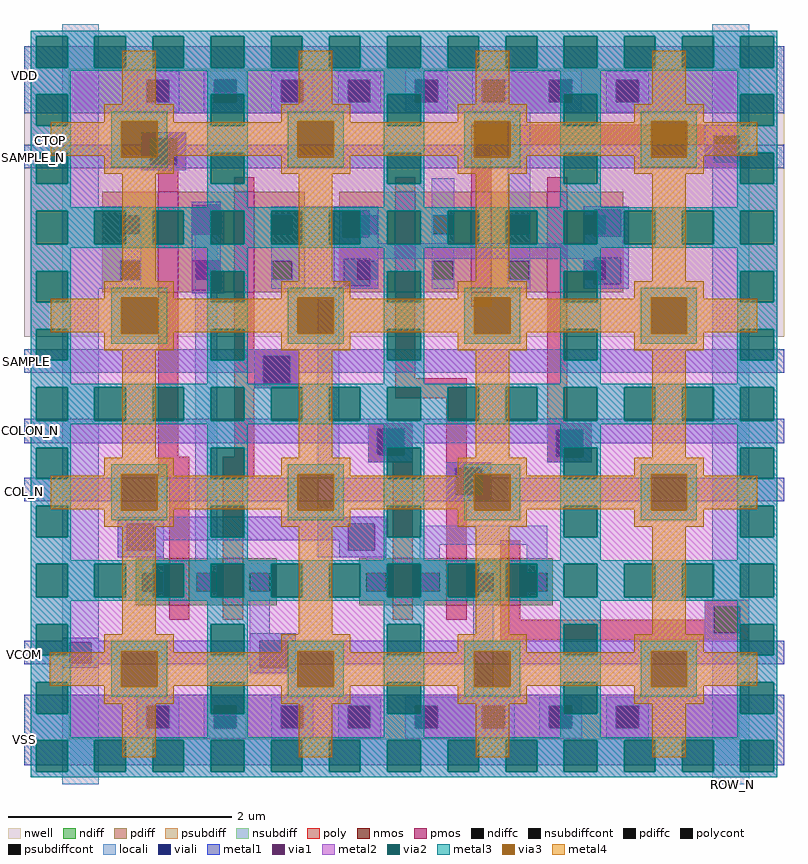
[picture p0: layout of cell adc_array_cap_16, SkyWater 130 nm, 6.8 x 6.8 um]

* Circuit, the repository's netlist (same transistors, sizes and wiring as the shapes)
* NGSPICE file created from adc_array_cap_16.ext - technology: sky130A

.subckt adc_array_circuit ROW_N COL_N COLON_N SAMPLE SAMPLE_N CBOT VCOM VDD VSS
X0 VINT2 COLON_N VDRV VSS sky130_fd_pr__nfet_01v8 ad=2.478e+11p pd=2.86e+06u as=2.52e+11p ps=2.88e+06u w=420000u l=180000u
X1 VINT2 ROW_N VSS VSS sky130_fd_pr__nfet_01v8 ad=0p pd=0u as=1.26e+11p ps=1.44e+06u w=420000u l=180000u
X2 VSS COL_N VINT2 VSS sky130_fd_pr__nfet_01v8 ad=0p pd=0u as=0p ps=0u w=420000u l=180000u
X3 CBOT SAMPLE_N VCOM VDD sky130_fd_pr__pfet_01v8 ad=4.5e+11p pd=2.8e+06u as=4.5e+11p ps=2.8e+06u w=900000u l=180000u
X4 VDRV SAMPLE CBOT VDD sky130_fd_pr__pfet_01v8 ad=1.305e+12p pd=8.3e+06u as=0p ps=0u w=900000u l=180000u
X5 VINT COL_N VDRV VDD sky130_fd_pr__pfet_01v8 ad=4.5e+11p pd=2.8e+06u as=0p ps=0u w=900000u l=180000u
X6 CBOT SAMPLE_N VDRV VSS sky130_fd_pr__nfet_01v8 ad=1.26e+11p pd=1.44e+06u as=0p ps=0u w=420000u l=180000u
X7 VCOM SAMPLE CBOT VSS sky130_fd_pr__nfet_01v8 ad=1.26e+11p pd=1.44e+06u as=0p ps=0u w=420000u l=180000u
X8 VDD ROW_N VINT VDD sky130_fd_pr__pfet_01v8 ad=4.5e+11p pd=2.8e+06u as=0p ps=0u w=900000u l=180000u
X9 VDRV COLON_N VDD VDD sky130_fd_pr__pfet_01v8 ad=0p pd=0u as=0p ps=0u w=900000u l=180000u
.ends

.subckt adc_array_cap_16 COL_N COLON_N CTOP ROW_N SAMPLE SAMPLE_N VCOM VDD CBOT VSS
Xadc_array_circuit_0 ROW_N COL_N COLON_N SAMPLE SAMPLE_N CBOT VCOM VDD VSS adc_array_circuit
.ends

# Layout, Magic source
magic
tech sky130A
<< locali >>
rect 617 0 650 4
<< metal1 >>
rect 1 600 5 660
rect 1 551 6 572
rect 1 368 6 389
rect 1 305 6 327
rect 1 253 6 274
rect 1 107 6 128
rect 1 17 6 80
<< metal2 >>
rect 7 669 675 674
rect 7 641 12 669
rect 40 641 64 669
rect 92 641 116 669
rect 144 641 168 669
rect 198 641 222 669
rect 250 641 274 669
rect 302 641 326 669
rect 356 641 380 669
rect 408 641 432 669
rect 460 641 484 669
rect 514 641 538 669
rect 566 641 590 669
rect 618 641 642 669
rect 672 641 675 669
rect 7 617 675 641
rect 7 589 12 617
rect 40 589 168 617
rect 198 589 326 617
rect 356 589 484 617
rect 514 589 642 617
rect 672 589 675 617
rect 7 565 675 589
rect 7 537 12 565
rect 40 537 168 565
rect 198 537 326 565
rect 356 537 484 565
rect 514 537 642 565
rect 672 537 675 565
rect 7 513 675 537
rect 7 483 12 513
rect 40 483 64 513
rect 92 483 116 513
rect 144 483 168 513
rect 198 483 222 513
rect 250 483 274 513
rect 302 483 326 513
rect 356 483 380 513
rect 408 483 432 513
rect 460 483 484 513
rect 514 483 538 513
rect 566 483 590 513
rect 618 483 642 513
rect 672 483 675 513
rect 7 459 675 483
rect 7 431 12 459
rect 40 431 168 459
rect 198 431 326 459
rect 356 431 484 459
rect 514 431 642 459
rect 672 431 675 459
rect 7 407 675 431
rect 7 379 12 407
rect 40 379 168 407
rect 198 379 326 407
rect 356 379 484 407
rect 514 379 642 407
rect 672 379 675 407
rect 7 355 675 379
rect 7 325 12 355
rect 40 325 64 355
rect 92 325 116 355
rect 144 325 168 355
rect 198 325 222 355
rect 250 325 274 355
rect 302 325 326 355
rect 356 325 380 355
rect 408 325 432 355
rect 460 325 484 355
rect 514 325 538 355
rect 566 325 590 355
rect 618 325 642 355
rect 672 325 675 355
rect 7 301 675 325
rect 7 273 12 301
rect 40 273 168 301
rect 198 273 326 301
rect 356 273 484 301
rect 514 273 642 301
rect 672 273 675 301
rect 7 249 675 273
rect 7 221 12 249
rect 40 221 168 249
rect 198 221 326 249
rect 356 221 484 249
rect 514 221 642 249
rect 672 221 675 249
rect 7 197 675 221
rect 7 167 12 197
rect 40 167 64 197
rect 92 167 116 197
rect 144 167 168 197
rect 198 167 222 197
rect 250 167 274 197
rect 302 167 326 197
rect 356 167 380 197
rect 408 167 432 197
rect 460 167 484 197
rect 514 167 538 197
rect 566 167 590 197
rect 618 167 642 197
rect 672 167 675 197
rect 7 143 675 167
rect 7 115 12 143
rect 40 115 168 143
rect 198 115 326 143
rect 356 115 484 143
rect 514 115 642 143
rect 672 115 675 143
rect 7 91 675 115
rect 7 63 12 91
rect 40 63 168 91
rect 198 63 326 91
rect 356 63 484 91
rect 514 63 642 91
rect 672 63 675 91
rect 7 39 675 63
rect 7 11 12 39
rect 40 11 64 39
rect 92 11 116 39
rect 144 11 168 39
rect 198 11 222 39
rect 250 11 274 39
rect 302 11 326 39
rect 356 11 380 39
rect 408 11 432 39
rect 460 11 484 39
rect 514 11 538 39
rect 566 11 590 39
rect 618 11 642 39
rect 672 11 675 39
rect 7 6 675 11
<< via2 >>
rect 12 641 40 669
rect 64 641 92 669
rect 116 641 144 669
rect 168 641 198 669
rect 222 641 250 669
rect 274 641 302 669
rect 326 641 356 669
rect 380 641 408 669
rect 432 641 460 669
rect 484 641 514 669
rect 538 641 566 669
rect 590 641 618 669
rect 642 641 672 669
rect 12 589 40 617
rect 168 589 198 617
rect 326 589 356 617
rect 484 589 514 617
rect 642 589 672 617
rect 12 537 40 565
rect 168 537 198 565
rect 326 537 356 565
rect 484 537 514 565
rect 642 537 672 565
rect 12 483 40 513
rect 64 483 92 513
rect 116 483 144 513
rect 168 483 198 513
rect 222 483 250 513
rect 274 483 302 513
rect 326 483 356 513
rect 380 483 408 513
rect 432 483 460 513
rect 484 483 514 513
rect 538 483 566 513
rect 590 483 618 513
rect 642 483 672 513
rect 12 431 40 459
rect 168 431 198 459
rect 326 431 356 459
rect 484 431 514 459
rect 642 431 672 459
rect 12 379 40 407
rect 168 379 198 407
rect 326 379 356 407
rect 484 379 514 407
rect 642 379 672 407
rect 12 325 40 355
rect 64 325 92 355
rect 116 325 144 355
rect 168 325 198 355
rect 222 325 250 355
rect 274 325 302 355
rect 326 325 356 355
rect 380 325 408 355
rect 432 325 460 355
rect 484 325 514 355
rect 538 325 566 355
rect 590 325 618 355
rect 642 325 672 355
rect 12 273 40 301
rect 168 273 198 301
rect 326 273 356 301
rect 484 273 514 301
rect 642 273 672 301
rect 12 221 40 249
rect 168 221 198 249
rect 326 221 356 249
rect 484 221 514 249
rect 642 221 672 249
rect 12 167 40 197
rect 64 167 92 197
rect 116 167 144 197
rect 168 167 198 197
rect 222 167 250 197
rect 274 167 302 197
rect 326 167 356 197
rect 380 167 408 197
rect 432 167 460 197
rect 484 167 514 197
rect 538 167 566 197
rect 590 167 618 197
rect 642 167 672 197
rect 12 115 40 143
rect 168 115 198 143
rect 326 115 356 143
rect 484 115 514 143
rect 642 115 672 143
rect 12 63 40 91
rect 168 63 198 91
rect 326 63 356 91
rect 484 63 514 91
rect 642 63 672 91
rect 12 11 40 39
rect 64 11 92 39
rect 116 11 144 39
rect 168 11 198 39
rect 222 11 250 39
rect 274 11 302 39
rect 326 11 356 39
rect 380 11 408 39
rect 432 11 460 39
rect 484 11 514 39
rect 538 11 566 39
rect 590 11 618 39
rect 642 11 672 39
<< metal3 >>
rect 7 669 675 674
rect 7 641 12 669
rect 40 641 64 669
rect 92 641 116 669
rect 144 641 168 669
rect 198 641 222 669
rect 250 641 274 669
rect 302 641 326 669
rect 356 641 380 669
rect 408 641 432 669
rect 460 641 484 669
rect 514 641 538 669
rect 566 641 590 669
rect 618 641 642 669
rect 672 641 675 669
rect 7 638 675 641
rect 7 617 43 638
rect 7 589 12 617
rect 40 589 43 617
rect 165 617 201 638
rect 7 565 43 589
rect 7 537 12 565
rect 40 537 43 565
rect 79 593 129 602
rect 79 561 88 593
rect 120 561 129 593
rect 79 552 129 561
rect 165 589 168 617
rect 198 589 201 617
rect 323 617 359 638
rect 165 565 201 589
rect 7 516 43 537
rect 165 537 168 565
rect 198 537 201 565
rect 237 593 287 602
rect 237 561 246 593
rect 278 561 287 593
rect 237 552 287 561
rect 323 589 326 617
rect 356 589 359 617
rect 481 617 517 638
rect 323 565 359 589
rect 165 516 201 537
rect 323 537 326 565
rect 356 537 359 565
rect 395 593 445 602
rect 395 561 404 593
rect 436 561 445 593
rect 395 552 445 561
rect 481 589 484 617
rect 514 589 517 617
rect 639 617 675 638
rect 481 565 517 589
rect 323 516 359 537
rect 481 537 484 565
rect 514 537 517 565
rect 553 593 603 602
rect 553 561 562 593
rect 594 561 603 593
rect 553 552 603 561
rect 639 589 642 617
rect 672 589 675 617
rect 639 565 675 589
rect 481 516 517 537
rect 639 537 642 565
rect 672 537 675 565
rect 639 516 675 537
rect 7 513 675 516
rect 7 483 12 513
rect 40 483 64 513
rect 92 483 116 513
rect 144 483 168 513
rect 198 483 222 513
rect 250 483 274 513
rect 302 483 326 513
rect 356 483 380 513
rect 408 483 432 513
rect 460 483 484 513
rect 514 483 538 513
rect 566 483 590 513
rect 618 483 642 513
rect 672 483 675 513
rect 7 480 675 483
rect 7 459 43 480
rect 7 431 12 459
rect 40 431 43 459
rect 165 459 201 480
rect 7 407 43 431
rect 7 379 12 407
rect 40 379 43 407
rect 79 435 129 444
rect 79 403 88 435
rect 120 403 129 435
rect 79 394 129 403
rect 165 431 168 459
rect 198 431 201 459
rect 323 459 359 480
rect 165 407 201 431
rect 7 358 43 379
rect 165 379 168 407
rect 198 379 201 407
rect 237 435 287 444
rect 237 403 246 435
rect 278 403 287 435
rect 237 394 287 403
rect 323 431 326 459
rect 356 431 359 459
rect 481 459 517 480
rect 323 407 359 431
rect 165 358 201 379
rect 323 379 326 407
rect 356 379 359 407
rect 395 435 445 444
rect 395 403 404 435
rect 436 403 445 435
rect 395 394 445 403
rect 481 431 484 459
rect 514 431 517 459
rect 639 459 675 480
rect 481 407 517 431
rect 323 358 359 379
rect 481 379 484 407
rect 514 379 517 407
rect 553 435 603 444
rect 553 403 562 435
rect 594 403 603 435
rect 553 394 603 403
rect 639 431 642 459
rect 672 431 675 459
rect 639 407 675 431
rect 481 358 517 379
rect 639 379 642 407
rect 672 379 675 407
rect 639 358 675 379
rect 7 355 675 358
rect 7 325 12 355
rect 40 325 64 355
rect 92 325 116 355
rect 144 325 168 355
rect 198 325 222 355
rect 250 325 274 355
rect 302 325 326 355
rect 356 325 380 355
rect 408 325 432 355
rect 460 325 484 355
rect 514 325 538 355
rect 566 325 590 355
rect 618 325 642 355
rect 672 325 675 355
rect 7 322 675 325
rect 7 301 43 322
rect 7 273 12 301
rect 40 273 43 301
rect 165 301 201 322
rect 7 249 43 273
rect 7 221 12 249
rect 40 221 43 249
rect 79 277 129 286
rect 79 245 88 277
rect 120 245 129 277
rect 79 236 129 245
rect 165 273 168 301
rect 198 273 201 301
rect 323 301 359 322
rect 165 249 201 273
rect 7 200 43 221
rect 165 221 168 249
rect 198 221 201 249
rect 237 277 287 286
rect 237 245 246 277
rect 278 245 287 277
rect 237 236 287 245
rect 323 273 326 301
rect 356 273 359 301
rect 481 301 517 322
rect 323 249 359 273
rect 165 200 201 221
rect 323 221 326 249
rect 356 221 359 249
rect 395 277 445 286
rect 395 245 404 277
rect 436 245 445 277
rect 395 236 445 245
rect 481 273 484 301
rect 514 273 517 301
rect 639 301 675 322
rect 481 249 517 273
rect 323 200 359 221
rect 481 221 484 249
rect 514 221 517 249
rect 553 277 603 286
rect 553 245 562 277
rect 594 245 603 277
rect 553 236 603 245
rect 639 273 642 301
rect 672 273 675 301
rect 639 249 675 273
rect 481 200 517 221
rect 639 221 642 249
rect 672 221 675 249
rect 639 200 675 221
rect 7 197 675 200
rect 7 167 12 197
rect 40 167 64 197
rect 92 167 116 197
rect 144 167 168 197
rect 198 167 222 197
rect 250 167 274 197
rect 302 167 326 197
rect 356 167 380 197
rect 408 167 432 197
rect 460 167 484 197
rect 514 167 538 197
rect 566 167 590 197
rect 618 167 642 197
rect 672 167 675 197
rect 7 164 675 167
rect 7 143 43 164
rect 7 115 12 143
rect 40 115 43 143
rect 165 143 201 164
rect 7 91 43 115
rect 7 63 12 91
rect 40 63 43 91
rect 79 119 129 128
rect 79 87 88 119
rect 120 87 129 119
rect 79 78 129 87
rect 165 115 168 143
rect 198 115 201 143
rect 323 143 359 164
rect 165 91 201 115
rect 7 42 43 63
rect 165 63 168 91
rect 198 63 201 91
rect 237 119 287 128
rect 237 87 246 119
rect 278 87 287 119
rect 237 78 287 87
rect 323 115 326 143
rect 356 115 359 143
rect 481 143 517 164
rect 323 91 359 115
rect 165 42 201 63
rect 323 63 326 91
rect 356 63 359 91
rect 395 119 445 128
rect 395 87 404 119
rect 436 87 445 119
rect 395 78 445 87
rect 481 115 484 143
rect 514 115 517 143
rect 639 143 675 164
rect 481 91 517 115
rect 323 42 359 63
rect 481 63 484 91
rect 514 63 517 91
rect 553 119 603 128
rect 553 87 562 119
rect 594 87 603 119
rect 553 78 603 87
rect 639 115 642 143
rect 672 115 675 143
rect 639 91 675 115
rect 481 42 517 63
rect 639 63 642 91
rect 672 63 675 91
rect 639 42 675 63
rect 7 39 675 42
rect 7 11 12 39
rect 40 11 64 39
rect 92 11 116 39
rect 144 11 168 39
rect 198 11 222 39
rect 250 11 274 39
rect 302 11 326 39
rect 356 11 380 39
rect 408 11 432 39
rect 460 11 484 39
rect 514 11 538 39
rect 566 11 590 39
rect 618 11 642 39
rect 672 11 675 39
rect 7 6 675 11
<< via3 >>
rect 88 561 120 593
rect 246 561 278 593
rect 404 561 436 593
rect 562 561 594 593
rect 88 403 120 435
rect 246 403 278 435
rect 404 403 436 435
rect 562 403 594 435
rect 88 245 120 277
rect 246 245 278 277
rect 404 245 436 277
rect 562 245 594 277
rect 88 87 120 119
rect 246 87 278 119
rect 404 87 436 119
rect 562 87 594 119
<< metal4 >>
rect 89 608 119 656
rect 247 608 277 656
rect 405 608 435 656
rect 563 608 593 656
rect 73 593 135 608
rect 73 592 88 593
rect 25 562 88 592
rect 73 561 88 562
rect 120 592 135 593
rect 231 593 293 608
rect 231 592 246 593
rect 120 562 246 592
rect 120 561 135 562
rect 73 546 135 561
rect 231 561 246 562
rect 278 592 293 593
rect 389 593 451 608
rect 389 592 404 593
rect 278 562 404 592
rect 278 561 293 562
rect 231 546 293 561
rect 389 561 404 562
rect 436 592 451 593
rect 547 593 609 608
rect 547 592 562 593
rect 436 562 562 592
rect 436 561 451 562
rect 389 546 451 561
rect 547 561 562 562
rect 594 592 609 593
rect 594 562 657 592
rect 594 561 609 562
rect 547 546 609 561
rect 89 450 119 546
rect 247 450 277 546
rect 405 450 435 546
rect 563 450 593 546
rect 73 435 135 450
rect 73 434 88 435
rect 25 404 88 434
rect 73 403 88 404
rect 120 434 135 435
rect 231 435 293 450
rect 231 434 246 435
rect 120 404 246 434
rect 120 403 135 404
rect 73 388 135 403
rect 231 403 246 404
rect 278 434 293 435
rect 389 435 451 450
rect 389 434 404 435
rect 278 404 404 434
rect 278 403 293 404
rect 231 388 293 403
rect 389 403 404 404
rect 436 434 451 435
rect 547 435 609 450
rect 547 434 562 435
rect 436 404 562 434
rect 436 403 451 404
rect 389 388 451 403
rect 547 403 562 404
rect 594 434 609 435
rect 594 404 657 434
rect 594 403 609 404
rect 547 388 609 403
rect 89 292 119 388
rect 247 292 277 388
rect 405 292 435 388
rect 563 292 593 388
rect 73 277 135 292
rect 73 276 88 277
rect 25 246 88 276
rect 73 245 88 246
rect 120 276 135 277
rect 231 277 293 292
rect 231 276 246 277
rect 120 246 246 276
rect 120 245 135 246
rect 73 230 135 245
rect 231 245 246 246
rect 278 276 293 277
rect 389 277 451 292
rect 389 276 404 277
rect 278 246 404 276
rect 278 245 293 246
rect 231 230 293 245
rect 389 245 404 246
rect 436 276 451 277
rect 547 277 609 292
rect 547 276 562 277
rect 436 246 562 276
rect 436 245 451 246
rect 389 230 451 245
rect 547 245 562 246
rect 594 276 609 277
rect 594 246 657 276
rect 594 245 609 246
rect 547 230 609 245
rect 89 134 119 230
rect 247 134 277 230
rect 405 134 435 230
rect 563 134 593 230
rect 73 119 135 134
rect 73 118 88 119
rect 24 88 88 118
rect 73 87 88 88
rect 120 118 135 119
rect 231 119 293 134
rect 231 118 246 119
rect 120 88 246 118
rect 120 87 135 88
rect 73 72 135 87
rect 231 87 246 88
rect 278 118 293 119
rect 389 119 451 134
rect 389 118 404 119
rect 278 88 404 118
rect 278 87 293 88
rect 231 72 293 87
rect 389 87 404 88
rect 436 118 451 119
rect 547 119 609 134
rect 547 118 562 119
rect 436 88 562 118
rect 436 87 451 88
rect 389 72 451 87
rect 547 87 562 88
rect 594 118 609 119
rect 594 88 657 118
rect 594 87 609 88
rect 547 72 609 87
rect 89 24 119 72
rect 247 24 277 72
rect 405 24 435 72
rect 563 24 593 72
use adc_array_circuit  adc_array_circuit_0
transform 1 0 1 0 1 0
box 0 0 680 680
<< labels >>
rlabel metal1 1 634 1 634 7 VDD
port 7 w
rlabel metal1 1 561 1 561 7 SAMPLE_N
port 5 w
rlabel metal1 1 378 1 378 7 SAMPLE
port 4 w
rlabel metal1 1 316 1 316 7 COLON_N
port 1 w
rlabel metal1 1 262 1 262 7 COL_N
port 0 w
rlabel metal1 1 116 1 116 7 VCOM
port 6 w
rlabel locali 635 0 635 0 5 ROW_N
port 3 s
rlabel metal4 25 576 25 576 7 CTOP
port 2 w
rlabel metal2 7 580 7 580 7 CBOT
port 9 w
rlabel metal1 1 40 1 40 7 VSS
port 10 w
<< end >>

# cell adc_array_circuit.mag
magic
tech sky130A
<< nwell >>
rect 0 400 680 660
<< nmos >>
rect 130 160 148 202
rect 178 160 196 202
rect 330 160 348 202
rect 378 160 396 202
rect 426 160 444 202
<< pmos >>
rect 120 440 138 530
rect 188 440 206 530
rect 332 440 350 530
rect 400 440 418 530
rect 468 440 486 530
<< ndiff >>
rect 100 189 130 202
rect 100 172 106 189
rect 124 172 130 189
rect 100 160 130 172
rect 148 189 178 202
rect 148 172 154 189
rect 172 172 178 189
rect 148 160 178 172
rect 196 189 226 202
rect 196 172 202 189
rect 220 172 226 189
rect 196 160 226 172
rect 300 189 330 202
rect 300 172 306 189
rect 324 172 330 189
rect 300 160 330 172
rect 348 189 378 202
rect 348 172 354 189
rect 372 172 378 189
rect 348 160 378 172
rect 396 189 426 202
rect 396 172 402 189
rect 420 172 426 189
rect 396 160 426 172
rect 444 189 473 202
rect 444 172 450 189
rect 468 172 473 189
rect 444 160 473 172
<< pdiff >>
rect 70 509 120 530
rect 70 492 86 509
rect 104 492 120 509
rect 70 468 120 492
rect 70 451 86 468
rect 104 451 120 468
rect 70 440 120 451
rect 138 509 188 530
rect 138 492 154 509
rect 172 492 188 509
rect 138 468 188 492
rect 138 451 154 468
rect 172 451 188 468
rect 138 440 188 451
rect 206 509 251 530
rect 206 492 222 509
rect 240 492 251 509
rect 206 468 251 492
rect 206 451 222 468
rect 240 451 251 468
rect 206 440 251 451
rect 282 509 332 530
rect 282 492 298 509
rect 316 492 332 509
rect 282 468 332 492
rect 282 451 298 468
rect 316 451 332 468
rect 282 440 332 451
rect 350 509 400 530
rect 350 492 366 509
rect 384 492 400 509
rect 350 468 400 492
rect 350 451 366 468
rect 384 451 400 468
rect 350 440 400 451
rect 418 509 468 530
rect 418 492 434 509
rect 452 492 468 509
rect 418 468 468 492
rect 418 451 434 468
rect 452 451 468 468
rect 418 440 468 451
rect 486 509 536 530
rect 486 492 502 509
rect 520 492 536 509
rect 486 468 536 492
rect 486 451 502 468
rect 520 451 536 468
rect 486 440 536 451
<< ndiffc >>
rect 106 172 124 189
rect 154 172 172 189
rect 202 172 220 189
rect 306 172 324 189
rect 354 172 372 189
rect 402 172 420 189
rect 450 172 468 189
<< pdiffc >>
rect 86 492 104 509
rect 86 451 104 468
rect 154 492 172 509
rect 154 451 172 468
rect 222 492 240 509
rect 222 451 240 468
rect 298 492 316 509
rect 298 451 316 468
rect 366 492 384 509
rect 366 451 384 468
rect 434 492 452 509
rect 434 451 452 468
rect 502 492 520 509
rect 502 451 520 468
<< psubdiff >>
rect 40 70 640 80
rect 40 50 110 70
rect 130 50 170 70
rect 190 50 230 70
rect 250 50 290 70
rect 310 50 350 70
rect 370 50 410 70
rect 430 50 470 70
rect 490 50 530 70
rect 550 50 640 70
rect 40 40 640 50
<< nsubdiff >>
rect 40 630 640 640
rect 40 610 110 630
rect 130 610 170 630
rect 190 610 230 630
rect 250 610 290 630
rect 310 610 350 630
rect 370 610 410 630
rect 430 610 470 630
rect 490 610 530 630
rect 550 610 640 630
rect 40 600 640 610
<< psubdiffcont >>
rect 110 50 130 70
rect 170 50 190 70
rect 230 50 250 70
rect 290 50 310 70
rect 350 50 370 70
rect 410 50 430 70
rect 470 50 490 70
rect 530 50 550 70
<< nsubdiffcont >>
rect 110 610 130 630
rect 170 610 190 630
rect 230 610 250 630
rect 290 610 310 630
rect 350 610 370 630
rect 410 610 430 630
rect 470 610 490 630
rect 530 610 550 630
<< poly >>
rect 105 578 145 583
rect 105 554 113 578
rect 137 554 145 578
rect 105 549 145 554
rect 400 580 649 590
rect 400 572 617 580
rect 120 530 138 549
rect 188 530 206 543
rect 332 530 350 543
rect 400 530 418 572
rect 609 556 617 572
rect 641 556 649 580
rect 609 551 649 556
rect 468 530 486 543
rect 120 293 138 440
rect 188 389 206 440
rect 188 383 246 389
rect 188 359 214 383
rect 238 359 246 383
rect 188 354 246 359
rect 332 363 350 440
rect 400 427 418 440
rect 188 293 206 354
rect 332 345 396 363
rect 120 275 148 293
rect 130 202 148 275
rect 178 275 206 293
rect 308 318 348 323
rect 308 294 316 318
rect 340 294 348 318
rect 308 288 348 294
rect 178 202 196 275
rect 330 202 348 288
rect 378 288 396 345
rect 468 323 486 440
rect 468 317 508 323
rect 468 293 476 317
rect 500 293 508 317
rect 468 288 508 293
rect 378 283 418 288
rect 378 259 386 283
rect 410 259 418 283
rect 378 253 418 259
rect 378 202 396 253
rect 426 202 444 218
rect 130 147 148 160
rect 178 147 196 160
rect 330 147 348 160
rect 378 147 396 160
rect 426 147 444 160
rect 609 159 649 165
rect 609 147 617 159
rect 426 135 617 147
rect 641 135 649 159
rect 426 129 649 135
<< polycont >>
rect 113 554 137 578
rect 617 556 641 580
rect 214 359 238 383
rect 316 294 340 318
rect 476 293 500 317
rect 386 259 410 283
rect 617 135 641 159
<< locali >>
rect 34 517 67 680
rect 101 630 139 638
rect 101 610 110 630
rect 130 610 139 630
rect 101 601 139 610
rect 161 630 199 638
rect 161 610 170 630
rect 190 610 199 630
rect 161 601 199 610
rect 221 630 259 638
rect 221 610 230 630
rect 250 610 259 630
rect 221 601 259 610
rect 281 630 319 638
rect 281 610 290 630
rect 310 610 319 630
rect 281 601 319 610
rect 341 630 379 638
rect 341 610 350 630
rect 370 610 379 630
rect 341 601 379 610
rect 401 637 439 638
rect 461 637 499 638
rect 401 630 499 637
rect 401 610 410 630
rect 430 610 470 630
rect 490 610 499 630
rect 401 601 499 610
rect 521 630 559 638
rect 521 610 530 630
rect 550 610 559 630
rect 521 601 559 610
rect 419 600 481 601
rect 105 578 145 583
rect 105 554 113 578
rect 137 554 145 578
rect 105 549 145 554
rect 34 509 105 517
rect 34 492 86 509
rect 104 492 105 509
rect 34 468 105 492
rect 34 451 86 468
rect 104 451 105 468
rect 34 443 105 451
rect 153 509 173 517
rect 153 492 154 509
rect 172 492 173 509
rect 153 468 173 492
rect 153 451 154 468
rect 172 451 173 468
rect 34 127 67 443
rect 84 233 125 239
rect 84 209 92 233
rect 116 209 125 233
rect 84 203 125 209
rect 106 189 125 203
rect 124 172 125 189
rect 106 164 125 172
rect 153 189 173 451
rect 221 513 317 517
rect 221 509 285 513
rect 309 509 317 513
rect 221 492 222 509
rect 240 492 285 509
rect 316 492 317 509
rect 221 489 285 492
rect 309 489 317 492
rect 221 470 317 489
rect 221 468 286 470
rect 310 468 317 470
rect 221 451 222 468
rect 240 451 286 468
rect 316 451 317 468
rect 221 446 286 451
rect 310 446 317 451
rect 221 443 317 446
rect 365 509 385 542
rect 365 492 366 509
rect 384 492 385 509
rect 365 468 385 492
rect 365 451 366 468
rect 384 451 385 468
rect 365 443 385 451
rect 433 509 453 600
rect 616 590 649 680
rect 609 580 649 590
rect 609 556 617 580
rect 641 556 649 580
rect 609 551 649 556
rect 433 492 434 509
rect 452 492 453 509
rect 433 468 453 492
rect 433 451 434 468
rect 452 451 453 468
rect 433 443 453 451
rect 501 514 541 517
rect 501 509 510 514
rect 501 492 502 509
rect 501 490 510 492
rect 534 490 541 514
rect 501 471 541 490
rect 501 468 510 471
rect 501 451 502 468
rect 501 447 510 451
rect 534 447 541 471
rect 501 443 541 447
rect 206 383 246 389
rect 206 359 214 383
rect 238 359 246 383
rect 206 354 246 359
rect 263 239 282 443
rect 308 318 348 323
rect 308 294 316 318
rect 340 294 348 318
rect 308 288 348 294
rect 468 317 508 323
rect 468 293 476 317
rect 500 293 508 317
rect 468 288 508 293
rect 378 283 418 288
rect 378 259 386 283
rect 410 259 418 283
rect 378 253 418 259
rect 263 233 324 239
rect 263 209 290 233
rect 314 209 324 233
rect 263 203 324 209
rect 153 172 154 189
rect 172 172 173 189
rect 153 164 173 172
rect 202 189 220 197
rect 34 108 41 127
rect 60 108 67 127
rect 34 0 67 108
rect 202 135 220 172
rect 306 189 324 203
rect 306 164 324 172
rect 354 214 468 231
rect 354 189 372 214
rect 354 164 372 172
rect 402 189 420 197
rect 202 128 243 135
rect 202 104 211 128
rect 235 104 243 128
rect 202 99 243 104
rect 402 78 420 172
rect 450 189 468 214
rect 450 164 468 172
rect 616 165 649 551
rect 609 159 649 165
rect 609 135 617 159
rect 641 135 649 159
rect 609 129 649 135
rect 101 70 139 78
rect 101 50 110 70
rect 130 50 139 70
rect 101 41 139 50
rect 161 70 199 78
rect 161 50 170 70
rect 190 50 199 70
rect 161 41 199 50
rect 221 70 259 78
rect 221 50 230 70
rect 250 50 259 70
rect 221 41 259 50
rect 281 70 319 78
rect 281 50 290 70
rect 310 50 319 70
rect 281 41 319 50
rect 341 70 439 78
rect 341 50 350 70
rect 370 50 410 70
rect 430 50 439 70
rect 341 41 439 50
rect 461 70 499 78
rect 461 50 470 70
rect 490 50 499 70
rect 461 41 499 50
rect 521 70 559 78
rect 521 50 530 70
rect 550 50 559 70
rect 521 41 559 50
rect 616 0 649 129
<< viali >>
rect 110 610 130 630
rect 170 610 190 630
rect 230 610 250 630
rect 290 610 310 630
rect 350 610 370 630
rect 410 610 430 630
rect 470 610 490 630
rect 530 610 550 630
rect 113 554 137 578
rect 154 492 172 509
rect 154 451 172 468
rect 92 209 116 233
rect 285 509 309 513
rect 285 492 298 509
rect 298 492 309 509
rect 285 489 309 492
rect 286 468 310 470
rect 286 451 298 468
rect 298 451 310 468
rect 286 446 310 451
rect 510 509 534 514
rect 510 492 520 509
rect 520 492 534 509
rect 510 490 534 492
rect 510 468 534 471
rect 510 451 520 468
rect 520 451 534 468
rect 510 447 534 451
rect 214 359 238 383
rect 316 294 340 318
rect 476 293 500 317
rect 386 259 410 283
rect 290 209 314 233
rect 41 108 60 127
rect 211 104 235 128
rect 110 50 130 70
rect 170 50 190 70
rect 230 50 250 70
rect 290 50 310 70
rect 350 50 370 70
rect 410 50 430 70
rect 470 50 490 70
rect 530 50 550 70
<< metal1 >>
rect 0 630 680 660
rect 0 610 110 630
rect 130 610 170 630
rect 190 610 230 630
rect 250 610 290 630
rect 310 610 350 630
rect 370 610 410 630
rect 430 610 470 630
rect 490 610 530 630
rect 550 610 680 630
rect 0 600 680 610
rect 105 578 145 583
rect 105 572 113 578
rect 0 554 113 572
rect 137 572 145 578
rect 137 554 680 572
rect 0 551 680 554
rect 150 518 176 521
rect 150 468 176 492
rect 277 513 317 517
rect 277 489 285 513
rect 309 489 317 513
rect 277 484 317 489
rect 501 514 541 517
rect 501 490 510 514
rect 534 490 541 514
rect 501 484 541 490
rect 277 471 541 484
rect 277 470 510 471
rect 277 446 286 470
rect 310 446 317 470
rect 277 443 317 446
rect 501 447 510 470
rect 534 447 541 471
rect 501 443 541 447
rect 150 439 176 442
rect 0 383 680 389
rect 0 368 214 383
rect 206 359 214 368
rect 238 368 680 383
rect 238 359 246 368
rect 206 354 246 359
rect 0 318 680 327
rect 0 305 316 318
rect 308 294 316 305
rect 340 317 680 318
rect 340 305 476 317
rect 340 294 348 305
rect 308 288 348 294
rect 468 293 476 305
rect 500 305 680 317
rect 500 293 508 305
rect 468 288 508 293
rect 378 283 418 288
rect 378 274 386 283
rect 0 259 386 274
rect 410 274 418 283
rect 410 259 680 274
rect 0 253 680 259
rect 84 233 324 239
rect 84 209 92 233
rect 116 218 290 233
rect 116 209 125 218
rect 84 203 125 209
rect 282 209 290 218
rect 314 209 324 233
rect 282 203 324 209
rect 34 128 67 131
rect 202 128 243 135
rect 0 127 211 128
rect 0 108 41 127
rect 60 108 211 127
rect 0 107 211 108
rect 34 104 67 107
rect 202 104 211 107
rect 235 107 680 128
rect 235 104 243 107
rect 202 99 243 104
rect 0 70 680 80
rect 0 50 110 70
rect 130 50 170 70
rect 190 50 230 70
rect 250 50 290 70
rect 310 50 350 70
rect 370 50 410 70
rect 430 50 470 70
rect 490 50 530 70
rect 550 50 680 70
rect 0 17 680 50
<< via1 >>
rect 150 509 176 518
rect 150 492 154 509
rect 154 492 172 509
rect 172 492 176 509
rect 150 451 154 468
rect 154 451 172 468
rect 172 451 176 468
rect 150 442 176 451
<< metal2 >>
rect 147 518 179 535
rect 147 492 150 518
rect 176 492 179 518
rect 147 468 179 492
rect 147 442 150 468
rect 176 442 179 468
rect 147 439 179 442
<< labels >>
rlabel metal1 0 634 0 634 7 VDD
port 1 w
rlabel metal1 0 48 0 48 7 VSS
port 6 w
rlabel locali 634 0 634 0 5 ROW_N
port 7 s
rlabel metal1 0 561 0 561 7 SAMPLE_N
port 2 w
rlabel locali 375 542 375 542 1 VINT
port 10 n
rlabel metal1 0 378 0 378 7 SAMPLE
port 3 w
rlabel metal1 0 262 0 262 7 COL_N
port 5 w
rlabel metal1 0 116 0 116 7 VCOM
port 8 w
rlabel metal2 163 535 163 535 1 CBOT
port 9 n
rlabel metal1 0 316 0 316 7 COLON_N
port 4 w
rlabel locali 282 345 282 345 3 VDRV
port 12 e
rlabel locali 409 231 409 231 1 VINT2
port 11 n
<< end >>
